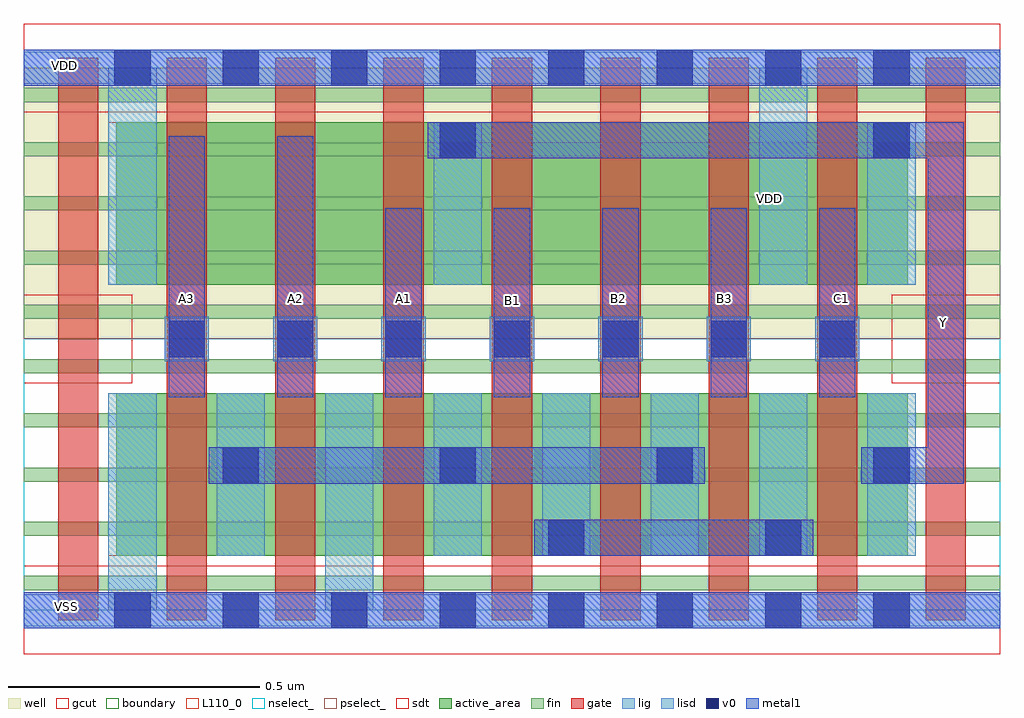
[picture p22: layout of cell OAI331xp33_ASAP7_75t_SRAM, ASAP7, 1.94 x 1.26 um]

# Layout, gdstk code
import gdstk
lib = gdstk.Library(unit=1e-6, precision=2.5e-10)
def R(c, l, rs):  # rectangles x0, y0, x1, y1
    for r in rs: c.add(gdstk.rectangle(r[:2], r[2:], *l))
def A(c, l, x, y, w, h, nx, ny, dx, dy):  # array of equal rectangles
    R(c, l, [(x+i*dx, y+j*dy, x+i*dx+w, y+j*dy+h) for i in range(nx) for j in range(ny)])
def P(c, l, *ps):  # polygons
    for p in ps: c.add(gdstk.Polygon(p, *l))
well = (1, 0)
fin = (2, 0)
gate = (7, 0)
gcut = (10, 0)
active_area = (11, 0)
nselect_ = (12, 0)
pselect_ = (13, 0)
lig = (16, 0)
lisd = (17, 0)
v0 = (18, 0)
metal1 = (19, 0)
sdt = (88, 0)
boundary = (100, 0)
L110_0 = (110, 0)

oai331xp33_asap7_75t_sra = lib.new_cell('OAI331xp33_ASAP7_75t_SRAM')
R(oai331xp33_asap7_75t_sra, well, [(0,0.54,1.944,1.08)])
A(oai331xp33_asap7_75t_sra, fin, 0, 0.04, 1.944, 0.028, 1, 10, 0, 0.108)
A(oai331xp33_asap7_75t_sra, gate, 0.068, -0.02, 0.08, 1.12, 9, 1, 0.216, 0)
R(oai331xp33_asap7_75t_sra, gate, [(1.796,-0.02,1.876,1.1), (1.796,-0.02,1.876,1.1)])
R(oai331xp33_asap7_75t_sra, gcut, [(0,-0.088,0.392,0.088), (0,-0.088,1.944,0.088), (1.768,-0.088,1.944,0.088), (0,0.452,0.216,0.628), (1.728,0.452,1.944,0.628), (0,0.992,0.392,1.168), (0,0.992,1.944,1.168), (1.768,0.992,1.944,1.168)])
R(oai331xp33_asap7_75t_sra, active_area, [(0.184,0.108,1.76,0.432), (0.184,0.648,1.76,0.972)])
R(oai331xp33_asap7_75t_sra, nselect_, [(0,0,1.944,0.54)])
R(oai331xp33_asap7_75t_sra, pselect_, [(0,0.54,1.944,1.08)])
A(oai331xp33_asap7_75t_sra, lig, 0.28, 0.496, 0.088, 0.088, 7, 1, 0.216, 0)
R(oai331xp33_asap7_75t_sra, lig, [(0,-0.032,1.944,0.032), (0,1.048,1.944,1.112)])
A(oai331xp33_asap7_75t_sra, lisd, 0.816, 0.108, 0.096, 0.324, 5, 1, 0.216, 0)
R(oai331xp33_asap7_75t_sra, lisd, [(0.168,0,0.264,0.432), (0.6,0,0.696,0.432), (0.384,0.108,0.48,0.432), (1.68,0.108,1.776,0.432), (0.168,0.648,0.264,1.08), (0.816,0.648,0.912,0.972), (1.464,0.648,1.56,1.08), (1.68,0.648,1.776,0.972)])
A(oai331xp33_asap7_75t_sra, v0, 0.18, -0.036, 0.072, 0.072, 8, 2, 0.216, 1.08)
A(oai331xp33_asap7_75t_sra, v0, 0.396, 0.252, 0.072, 0.072, 4, 1, 0.432, 0)
A(oai331xp33_asap7_75t_sra, v0, 0.288, 0.504, 0.072, 0.072, 7, 1, 0.216, 0)
R(oai331xp33_asap7_75t_sra, v0, [(1.692,-0.036,1.764,0.036), (1.044,0.108,1.116,0.18), (1.476,0.108,1.548,0.18), (0.828,0.9,0.9,0.972), (1.692,0.9,1.764,0.972), (1.692,1.044,1.764,1.116)])
A(oai331xp33_asap7_75t_sra, metal1, 0.72, 0.424, 0.072, 0.376, 5, 1, 0.216, 0)
R(oai331xp33_asap7_75t_sra, metal1, [(0,-0.036,1.944,0.036), (1.016,0.108,1.572,0.18), (0.368,0.252,1.356,0.324), (0.288,0.424,0.36,0.944), (0.504,0.424,0.576,0.944), (0,1.044,1.944,1.116)])
P(oai331xp33_asap7_75t_sra, metal1, [(1.872,0.972),(0.804,0.972),(0.804,0.9),(1.8,0.9),(1.8,0.324),(1.668,0.324),(1.668,0.252),(1.872,0.252)])
A(oai331xp33_asap7_75t_sra, sdt, 0.168, 0.108, 0.096, 0.324, 8, 1, 0.216, 0)
A(oai331xp33_asap7_75t_sra, sdt, 0.168, 0.648, 0.096, 0.324, 3, 1, 0.648, 0)
R(oai331xp33_asap7_75t_sra, sdt, [(1.68,0.108,1.776,0.432), (1.68,0.648,1.776,0.972)])
R(oai331xp33_asap7_75t_sra, boundary, [(0,0,1.944,1.08)])
R(oai331xp33_asap7_75t_sra, L110_0, [(0,0,1.944,1.08)])
oai331xp33_asap7_75t_sra.add(gdstk.Label('VSS', (1.248,-0.184), layer=3, texttype=251))
oai331xp33_asap7_75t_sra.add(gdstk.Label('VDD', (1.484,0.82), layer=1, texttype=251))
oai331xp33_asap7_75t_sra.add(gdstk.Label('VDD', (0.08,1.084), layer=19, texttype=251))
oai331xp33_asap7_75t_sra.add(gdstk.Label('VSS', (0.084,0.008), layer=19, texttype=251))
oai331xp33_asap7_75t_sra.add(gdstk.Label('C1', (1.628,0.62), layer=19, texttype=251))
oai331xp33_asap7_75t_sra.add(gdstk.Label('B3', (1.396,0.62), layer=19, texttype=251))
oai331xp33_asap7_75t_sra.add(gdstk.Label('B2', (1.184,0.62), layer=19, texttype=251))
oai331xp33_asap7_75t_sra.add(gdstk.Label('B1', (0.972,0.616), layer=19, texttype=251))
oai331xp33_asap7_75t_sra.add(gdstk.Label('A1', (0.756,0.62), layer=19, texttype=251))
oai331xp33_asap7_75t_sra.add(gdstk.Label('A2', (0.54,0.62), layer=19, texttype=251))
oai331xp33_asap7_75t_sra.add(gdstk.Label('A3', (0.324,0.62), layer=19, texttype=251))
oai331xp33_asap7_75t_sra.add(gdstk.Label('Y', (1.832,0.572), layer=19, texttype=251))

lib.write_gds('OAI331xp33_ASAP7_75t_SRAM.gds')
